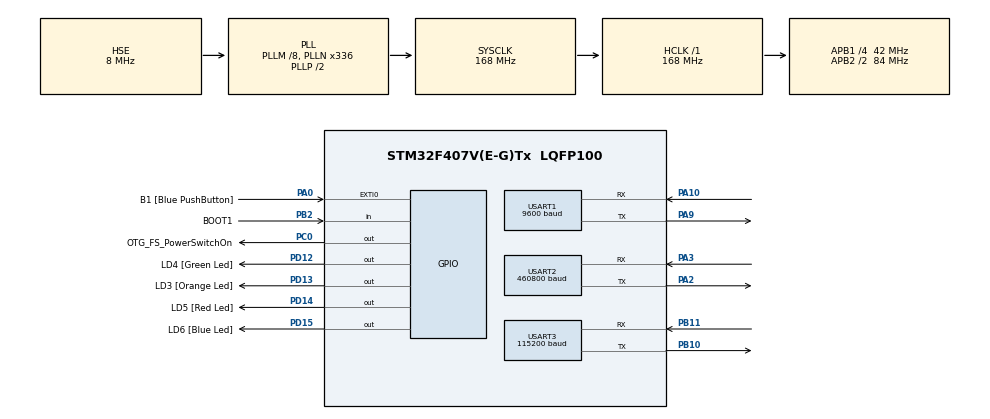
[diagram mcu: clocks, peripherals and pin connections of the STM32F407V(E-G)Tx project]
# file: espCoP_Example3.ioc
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Dma.Request0=USART3_RX
Dma.Request1=USART3_TX
Dma.Request2=USART2_TX
Dma.Request3=USART1_RX
Dma.Request4=USART1_TX
Dma.USART1_RX.3.Direction=DMA_PERIPH_TO_MEMORY
Dma.USART1_RX.3.FIFOMode=DMA_FIFOMODE_DISABLE
Dma.USART1_RX.3.Instance=DMA2_Stream2
Dma.USART1_RX.3.MemDataAlignment=DMA_MDATAALIGN_BYTE
Dma.USART1_RX.3.MemInc=DMA_MINC_ENABLE
Dma.USART1_RX.3.Mode=DMA_NORMAL
Dma.USART1_RX.3.PeriphDataAlignment=DMA_PDATAALIGN_BYTE
Dma.USART1_RX.3.PeriphInc=DMA_PINC_DISABLE
Dma.USART1_RX.3.Priority=DMA_PRIORITY_LOW
Dma.USART1_TX.4.Direction=DMA_MEMORY_TO_PERIPH
Dma.USART1_TX.4.FIFOMode=DMA_FIFOMODE_DISABLE
Dma.USART1_TX.4.Instance=DMA2_Stream7
Dma.USART1_TX.4.MemDataAlignment=DMA_MDATAALIGN_BYTE
Dma.USART1_TX.4.MemInc=DMA_MINC_ENABLE
Dma.USART1_TX.4.Mode=DMA_NORMAL
Dma.USART1_TX.4.PeriphDataAlignment=DMA_PDATAALIGN_BYTE
Dma.USART1_TX.4.PeriphInc=DMA_PINC_DISABLE
Dma.USART1_TX.4.Priority=DMA_PRIORITY_LOW
Dma.USART2_TX.2.Direction=DMA_MEMORY_TO_PERIPH
Dma.USART2_TX.2.FIFOMode=DMA_FIFOMODE_DISABLE
Dma.USART2_TX.2.Instance=DMA1_Stream6
Dma.USART2_TX.2.MemDataAlignment=DMA_MDATAALIGN_BYTE
Dma.USART2_TX.2.MemInc=DMA_MINC_ENABLE
Dma.USART2_TX.2.Mode=DMA_NORMAL
Dma.USART2_TX.2.PeriphDataAlignment=DMA_PDATAALIGN_BYTE
Dma.USART2_TX.2.PeriphInc=DMA_PINC_DISABLE
Dma.USART2_TX.2.Priority=DMA_PRIORITY_LOW
Dma.USART3_RX.0.Direction=DMA_PERIPH_TO_MEMORY
Dma.USART3_RX.0.FIFOMode=DMA_FIFOMODE_DISABLE
Dma.USART3_RX.0.Instance=DMA1_Stream1
Dma.USART3_RX.0.MemDataAlignment=DMA_MDATAALIGN_BYTE
Dma.USART3_RX.0.MemInc=DMA_MINC_ENABLE
Dma.USART3_RX.0.Mode=DMA_NORMAL
Dma.USART3_RX.0.PeriphDataAlignment=DMA_PDATAALIGN_BYTE
Dma.USART3_RX.0.PeriphInc=DMA_PINC_DISABLE
Dma.USART3_RX.0.Priority=DMA_PRIORITY_LOW
Dma.USART3_TX.1.Direction=DMA_MEMORY_TO_PERIPH
Dma.USART3_TX.1.FIFOMode=DMA_FIFOMODE_DISABLE
Dma.USART3_TX.1.Instance=DMA1_Stream3
Dma.USART3_TX.1.MemDataAlignment=DMA_MDATAALIGN_BYTE
Dma.USART3_TX.1.MemInc=DMA_MINC_ENABLE
Dma.USART3_TX.1.Mode=DMA_NORMAL
Dma.USART3_TX.1.PeriphDataAlignment=DMA_PDATAALIGN_BYTE
Dma.USART3_TX.1.PeriphInc=DMA_PINC_DISABLE
Dma.USART3_TX.1.Priority=DMA_PRIORITY_LOW
Mcu.Family=STM32F4
Mcu.Name=STM32F407V(E-G)Tx
Mcu.Package=LQFP100
NVIC.DMA1_Stream1_IRQn=true\:0\:0\:false\:false\:true\:false
NVIC.DMA1_Stream3_IRQn=true\:0\:0\:false\:false\:true\:false
NVIC.DMA1_Stream6_IRQn=true\:0\:0\:false\:false\:true\:false
NVIC.DMA2_Stream2_IRQn=true\:0\:0\:false\:false\:true\:false
NVIC.DMA2_Stream7_IRQn=true\:0\:0\:false\:false\:true\:false
NVIC.PriorityGroup=NVIC_PRIORITYGROUP_0
NVIC.USART1_IRQn=true\:0\:0\:false\:false\:true\:true
NVIC.USART2_IRQn=true\:0\:0\:false\:false\:true\:true
NVIC.USART3_IRQn=true\:0\:0\:false\:false\:true\:true
PA0-WKUP.GPIO_Label=B1 [Blue PushButton]
PA0-WKUP.GPIO_ModeDefaultEXTI=GPIO_MODE_EVT_RISING
PA0-WKUP.GPIO_PuPd=GPIO_NOPULL
PA0-WKUP.Signal=GPXTI0
PA10.Mode=Asynchronous
PA10.Signal=USART1_RX
PA13.GPIO_Label=SWDIO
PA13.Mode=Serial_Wire
PA13.Signal=SYS_JTMS-SWDIO
PA14.GPIO_Label=SWCLK
PA14.Mode=Serial_Wire
PA14.Signal=SYS_JTCK-SWCLK
PA2.Mode=Asynchronous
PA2.Signal=USART2_TX
PA3.Mode=Asynchronous
PA3.Signal=USART2_RX
PA9.Mode=Asynchronous
PA9.Signal=USART1_TX
PB10.Mode=Asynchronous
PB10.Signal=USART3_TX
PB11.Mode=Asynchronous
PB11.Signal=USART3_RX
PB2.GPIO_Label=BOOT1
PB2.GPIO_Mode=GPIO_MODE_INPUT
PB2.GPIO_PuPd=GPIO_NOPULL
PB2.Signal=GPIO_Input
PB3.GPIO_Label=SWO
PB3.Signal=SYS_JTDO-SWO
PC0.GPIO_Label=OTG_FS_PowerSwitchOn
PC0.GPIO_PuPd=GPIO_NOPULL
PC0.GPIO_Speed=GPIO_SPEED_FREQ_LOW
PC0.PinState=GPIO_PIN_SET
PC0.Signal=GPIO_Output
PC14-OSC32_IN.GPIO_Label=PC14-OSC32_IN
PC14-OSC32_IN.Mode=LSE-External-Oscillator
PC14-OSC32_IN.Signal=RCC_OSC32_IN
PC15-OSC32_OUT.GPIO_Label=PC15-OSC32_OUT
PC15-OSC32_OUT.Mode=LSE-External-Oscillator
PC15-OSC32_OUT.Signal=RCC_OSC32_OUT
PC3.GPIO_Label=PDM_OUT [MP45DT02_DOUT]
PC3.GPIO_Mode=GPIO_MODE_AF_PP
PC3.GPIO_PuPd=GPIO_NOPULL
PC3.GPIO_Speed=GPIO_SPEED_FREQ_LOW
PC3.Signal=I2S2_SD
PD12.GPIO_Label=LD4 [Green Led]
PD12.GPIO_PuPd=GPIO_NOPULL
PD12.GPIO_Speed=GPIO_SPEED_FREQ_LOW
PD12.Signal=GPIO_Output
PD13.GPIO_Label=LD3 [Orange Led]
PD13.GPIO_PuPd=GPIO_NOPULL
PD13.GPIO_Speed=GPIO_SPEED_FREQ_LOW
PD13.Signal=GPIO_Output
PD14.GPIO_Label=LD5 [Red Led]
PD14.GPIO_PuPd=GPIO_NOPULL
PD14.GPIO_Speed=GPIO_SPEED_FREQ_LOW
PD14.Signal=GPIO_Output
PD15.GPIO_Label=LD6 [Blue Led]
PD15.GPIO_PuPd=GPIO_NOPULL
PD15.GPIO_Speed=GPIO_SPEED_FREQ_LOW
PD15.Signal=GPIO_Output
PH0-OSC_IN.GPIO_Label=PH0-OSC_IN
PH0-OSC_IN.Mode=HSE-External-Oscillator
PH0-OSC_IN.Signal=RCC_OSC_IN
PH1-OSC_OUT.GPIO_Label=PH1-OSC_OUT
PH1-OSC_OUT.Mode=HSE-External-Oscillator
PH1-OSC_OUT.Signal=RCC_OSC_OUT
ProjectManager.HeapSize=0x200
ProjectManager.StackSize=0x400
ProjectManager.TargetToolchain=TrueSTUDIO
RCC.48MHZClocksFreq_Value=48000000
RCC.AHBFreq_Value=168000000
RCC.APB1CLKDivider=RCC_HCLK_DIV4
RCC.APB1Freq_Value=42000000
RCC.APB1TimFreq_Value=84000000
RCC.APB2CLKDivider=RCC_HCLK_DIV2
RCC.APB2Freq_Value=84000000
RCC.APB2TimFreq_Value=168000000
RCC.CortexFreq_Value=168000000
RCC.HCLKFreq_Value=168000000
RCC.HSE_VALUE=8000000
RCC.HSI_VALUE=16000000
RCC.PLLM=8
RCC.PLLN=336
RCC.PLLQ=7
RCC.PLLSourceVirtual=RCC_PLLSOURCE_HSE
RCC.SYSCLKFreq_VALUE=168000000
RCC.SYSCLKSource=RCC_SYSCLKSOURCE_PLLCLK
RCC.VCOOutputFreq_Value=336000000
USART1.BaudRate=9600
USART1.VirtualMode=VM_ASYNC
USART2.BaudRate=460800
USART2.Mode=MODE_TX
USART2.VirtualMode=VM_ASYNC
USART3.BaudRate=115200
USART3.VirtualMode=VM_ASYNC
board=STM32F4DISCOVERY

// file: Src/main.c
/* USER CODE BEGIN Header */
/**
  ******************************************************************************
  * @file           : main.c
  * @brief          : Main program body
  ******************************************************************************
  ** This notice applies to any and all portions of this file
  * that are not between comment pairs USER CODE BEGIN and
  * USER CODE END. Other portions of this file, whether
  * inserted by the user or by software development tools
  * are owned by their respective copyright owners.
  *
  * COPYRIGHT(c) 2019 STMicroelectronics
  *
  * Redistribution and use in source and binary forms, with or without modification,
  * are permitted provided that the following conditions are met:
  *   1. Redistributions of source code must retain the above copyright notice,
  *      this list of conditions and the following disclaimer.
  *   2. Redistributions in binary form must reproduce the above copyright notice,
  *      this list of conditions and the following disclaimer in the documentation
  *      and/or other materials provided with the distribution.
  *   3. Neither the name of STMicroelectronics nor the names of its contributors
  *      may be used to endorse or promote products derived from this software
  *      without specific prior written permission.
  *
  * THIS SOFTWARE IS PROVIDED BY THE COPYRIGHT HOLDERS AND CONTRIBUTORS "AS IS"
  * AND ANY EXPRESS OR IMPLIED WARRANTIES, INCLUDING, BUT NOT LIMITED TO, THE
  * IMPLIED WARRANTIES OF MERCHANTABILITY AND FITNESS FOR A PARTICULAR PURPOSE ARE
  * DISCLAIMED. IN NO EVENT SHALL THE COPYRIGHT HOLDER OR CONTRIBUTORS BE LIABLE
  * FOR ANY DIRECT, INDIRECT, INCIDENTAL, SPECIAL, EXEMPLARY, OR CONSEQUENTIAL
  * DAMAGES (INCLUDING, BUT NOT LIMITED TO, PROCUREMENT OF SUBSTITUTE GOODS OR
  * SERVICES; LOSS OF USE, DATA, OR PROFITS; OR BUSINESS INTERRUPTION) HOWEVER
  * CAUSED AND ON ANY THEORY OF LIABILITY, WHETHER IN CONTRACT, STRICT LIABILITY,
  * OR TORT (INCLUDING NEGLIGENCE OR OTHERWISE) ARISING IN ANY WAY OUT OF THE USE
  * OF THIS SOFTWARE, EVEN IF ADVISED OF THE POSSIBILITY OF SUCH DAMAGE.
  *
  ******************************************************************************
  */
/* USER CODE END Header */

#include "main.h"
#include "dma.h"
#include "usart.h"
#include "gpio.h"

/* USER CODE BEGIN Includes */
#include <stack/esp_basic.h>
#include <stack/esp_wifi.h>
#include <stack/esp_tcpip.h>
#include "debug.h"
#include "slre.h"
#include "esp_drv.h"
#include "esp_port.h"
#include "assert.h"

#include <string.h>
/* USER CODE END Includes */

/* USER CODE BEGIN PD */
//#define SSID	"HUAWEI-DUge\0"
//#define PASS	"485754439FED179D\0"
#define SSID	"AlVik\0"
#define PASS	"xPo#h0c2016\0"
/* USER CODE END PD */

/* USER CODE BEGIN PV */
static char message[] = "Hello\r\n";
/* USER CODE END PV */

void SystemClock_Config(void);

/* USER CODE BEGIN 0 */
static bool receice_handlle(ESP_ConnectionId_t id, const char data[], size_t size)
{
	if(data == NULL || size == 0)
	{
		debug_error("[TCP]: Received from id: %c...FAULT\r\n", id);
		return false;
	}

	debug_info("[TCP]: Received from id: %c\r\n", id);
	debug_info("\r\n");
	debug_dump((const void*)data, (unsigned long)&data[0], size, 1);
	debug_info("\r\n");
	debug_info("\r\n");

	ESP_TransmitData(id, message, sizeof(message));
	return true;
}

static bool disconnect_handlle(ESP_ConnectionId_t id)
{
	debug_info("[TCP]: Connection %c close\r\n", id);
	return true;
}

static bool connect_handlle(ESP_ConnectionId_t id)
{
	ESP_ConnectonStatus_t status;

	debug_info("[TCP]: Connection %c open\r\n", id);
	if(ESP_RequestConnectionStatus(&status, 5000u))
	{
		debug_info("\tID: %c\r\n", status.id);
		debug_info("\tlocalPort: %d\r\n", status.localPort);
		debug_info("\tremoteIp: %x\r\n", status.remoteIp);
		debug_info("\tremotePort: %d\r\n", status.remotePort);
		debug_info("\tstat: %c\r\n", status.stat);
		debug_info("\ttype: %x\r\n", status.type);
	}
	ESP_HardWareSwitchMode(UNBLOCK);
	return true;
}

static void transmit_pass_handle(void)
{
	debug_info("[TCP]: Transmit Pass\r\n");
}

/* USER CODE END 0 */

int main(void)
{
  /* USER CODE BEGIN 1 */
	const char ssid[] = SSID;
		const char password[] = PASS;
		char ssid_cur[35] = {0};
		Ipv4Addr_t ip = 0;
		Ipv4Addr_t gw = 0;
		Ipv4Addr_t mask = 0;
		TCP_ConnectonParam_t connParam;
		char ipStr[] = "192.168.100.7\0";

		char _ip[] = "000.000.000.000\0";
		char _gw[] = "000.000.000.000\0";
		char _msk[] = "000.000.000.000\0";

		ESP_TransferMode_t transfer;
		ESP_ConnectionMode_t mux;
		uint32_t count = 3;
		ESPStatus_t res = ESP_INNER_ERR;

  /* USER CODE END 1 */

  /* MCU Configuration--------------------------------------------------------*/

  /* Reset of all peripherals, Initializes the Flash interface and the Systick. */
  HAL_Init();

  /* Configure the system clock */
  SystemClock_Config();

  /* Initialize all configured peripherals */
  MX_GPIO_Init();
  MX_DMA_Init();
  MX_USART3_UART_Init();
  MX_USART2_UART_Init();
  MX_USART1_UART_Init();
  /* USER CODE BEGIN 2 */
  debug_init();

	ESP_RegisterReceiceCB(&receice_handlle);
	ESP_RegisterCloseConnectCB(&disconnect_handlle);
	ESP_RegisterOpenConnectCB(&connect_handlle);
	ESP_RegisterTransmitPassCB(&transmit_pass_handle);
  ESP_Init();

  Convert_StringToIpv4addr(&connParam.remoteIp, ipStr);
  	connParam.remotePort = 9000;
  	connParam.id = ID_NONE;

  	debug_info("Example #3\r\n");
  	debug_info("\t- WiFi in station mode\r\n");
  	debug_info("\t- TCP server\r\n");
  	debug_info("\t- Multi connection mode\r\n");
  	debug_info("\t- Normal transmit mode\r\n");
  	debug_info("\r\n");
  	debug_info("\r\n");

  	debug_info("Setup WiFi station mode...");
  	if(ESP_SetupWifiModeCur(WIFI_CLIENT, 5000u))
  	{
  		debug_info(" PASS\r\n");

  		debug_info("Check connection to AP status: \r\n");
  		if(ESP_RequestNameConnectedApCur(ssid_cur, 5000u) == ESP_PASS)
  		{
  			if(strlen(ssid_cur) != 0)
  			{
  				debug_info("\tjoin to %s\r\n", ssid_cur);
  				if(ESP_UnJoinFromWifiAp(5000u))
  				{
  					debug_info("\tunjoin from %s\r\n", ssid_cur);
  				}
  			}
  			else
  			{
  				debug_info("\tdo not join\r\n");
  			}
  		}

  		debug_info("Join to SSID: %s...", ssid);
  		while(res != ESP_PASS && count > 0)
  		{
  			res = ESP_JoinToWifiApCur(ssid, password, 5000u);
  			count--;
  		}
  		if(res == ESP_PASS)
  		{
  			debug_info(" PASS\r\n");
  			debug_info("Request station IP...");

  			res = ESP_INNER_ERR;
  			count = 1;
  			while(res != ESP_PASS && count != 0)
  			{
  				res = ESP_RequestWifiStationIpAddrCur(&ip, &gw, &mask, 5000u);
  				count++;
  			}
  			if(res == ESP_PASS)
  			{
  				debug_info(" PASS\r\n");

  				Convert_Ipv4addrToString(ip, _ip);
  				Convert_Ipv4addrToString(gw, _gw);
  				Convert_Ipv4addrToString(mask, _msk);

  				debug_info("\tIP: %s\r\n", _ip);
  				debug_info("\tGW: %s\r\n", _gw);
  				debug_info("\tMASK: %s\r\n", _msk);
  			}
  			else
  			{
  				debug_error(" FAULT\r\n");
  			}

  			debug_info("Request multiplexor mode...");
  			res = ESP_INNER_ERR;
  			count = 0;

  			while(res != ESP_PASS)
  			{
  				res = ESP_RequestConfigMux(&mux, 5000u);
  				count++;
  			}
  			if(res == ESP_PASS)
  			{
  				debug_info(" PASS\r\n");
  				if(mux != MULTIPLE_CONNECT)
  				{
  					debug_info("Setup multi mode...");
  					if(ESP_MultipleConnectionEnable(5000u) == ESP_SERVER_ON)
  					{
  						debug_info(" FAULT\r\n");
  						debug_info("\t Need disable TCP Server...");
  						if(ESP_CloseServerTCP(0, 5000u))
  						{
  							debug_info(" PASS\r\n");
  							debug_info("Setup single mode...");
  							if(ESP_MultipleConnectionEnable(5000u))
  							{
  								debug_info(" PASS\r\n");
  							}
  							else
  							{
  								debug_error(" FAULT\r\n");
  							}
  						}
  						else
  						{
  							debug_error(" FAULT\r\n");
  						}
  					}
  					else
  					{
  						debug_info(" PASS\r\n");
  					}
  				}
  				else
  				{
  					debug_info("\tAlready in multi mode...\r\n");
  				}

  				debug_info("Request transfer mode...");

  				res = ESP_INNER_ERR;
  				count = 0;
  				while(res != ESP_PASS)
  				{
  					res = ESP_RequestTransferMode(&transfer, 5000u);
  					count++;
  				}
  				if(res == ESP_PASS)
  				{
  					debug_info(" PASS\r\n");
  					if(transfer != NORMAL_MODE)
  					{
  						debug_info("Setup normal transfer mode...");
  						if(ESP_SetupTransferMode(NORMAL_MODE, 5000u) == ESP_PASS)
  						{
  							debug_info(" PASS\r\n");
  						}
  						else
  						{
  							debug_error(" FAULT\r\n");
  						}
  					}
  					else
  					{
  						debug_info("\tAlready in normal transfer mode...\r\n");
  					}
  				}
  				else if(res == ESP_PASS)
  				{
  					debug_error(" TIMEOUT\r\n");
  				}
  				else
  				{
  					debug_error(" FAULT\r\n");
  				}

  //				if(ESP_RequestTransferMode(&transfer))
  //				{
  //					debug_info(" PASS\r\n");
  //
  //					if(transfer != NORMAL_MODE)
  //					{
  //						debug_info("Setup normal transfer mode...");
  //						if(ESP_SetupTransferMode(NORMAL_MODE))
  //						{
  //							debug_info(" PASS\r\n");
  //						}
  //						else
  //						{
  //							debug_error(" FAULT\r\n");
  //						}
  //					}
  //					else
  //					{
  //						debug_info("\tAlready in normal transfer mode...\r\n");
  //					}
  //				}
  //				else
  //				{
  //					debug_error(" FAULT\r\n");
  //				}

  				debug_info("Create TCP server...");
  				if(ESP_StartServerTCP(1001, 5000u) == ESP_PASS)
  				{
  					debug_info(" PASS\r\n");
  				}
  				else
  				{
  					debug_error(" FAULT\r\n");
  				}

  				ESP_HardWareSwitchMode(UNBLOCK);
  			}
  			else
  			{
  				debug_error(" FAULT\r\n");
  			}
  		}
  		else
  		{
  			debug_error(" FAULT\r\n");
  		}
  	}
  	else
  	{
  		debug_error(" FAULT\r\n");
  	}

  /* USER CODE END 2 */

  /* Infinite loop */
  while (1)
  {

    /* USER CODE BEGIN 3 */
	ESP_MsgHandlCallBack();
	ESP_TransmitDataHandle();
  }
  /* USER CODE END 3 */
}

void SystemClock_Config(void)
{
  RCC_OscInitTypeDef RCC_OscInitStruct = {0};
  RCC_ClkInitTypeDef RCC_ClkInitStruct = {0};

  /**Configure the main internal regulator output voltage
  */
  __HAL_RCC_PWR_CLK_ENABLE();
  __HAL_PWR_VOLTAGESCALING_CONFIG(PWR_REGULATOR_VOLTAGE_SCALE1);
  /**Initializes the CPU, AHB and APB busses clocks
  */
  RCC_OscInitStruct.OscillatorType = RCC_OSCILLATORTYPE_HSE;
  RCC_OscInitStruct.HSEState = RCC_HSE_ON;
  RCC_OscInitStruct.PLL.PLLState = RCC_PLL_ON;
  RCC_OscInitStruct.PLL.PLLSource = RCC_PLLSOURCE_HSE;
  RCC_OscInitStruct.PLL.PLLM = 8;
  RCC_OscInitStruct.PLL.PLLN = 336;
  RCC_OscInitStruct.PLL.PLLP = RCC_PLLP_DIV2;
  RCC_OscInitStruct.PLL.PLLQ = 7;
  if (HAL_RCC_OscConfig(&RCC_OscInitStruct) != HAL_OK)
  {
    Error_Handler();
  }
  /**Initializes the CPU, AHB and APB busses clocks
  */
  RCC_ClkInitStruct.ClockType = RCC_CLOCKTYPE_HCLK|RCC_CLOCKTYPE_SYSCLK
                              |RCC_CLOCKTYPE_PCLK1|RCC_CLOCKTYPE_PCLK2;
  RCC_ClkInitStruct.SYSCLKSource = RCC_SYSCLKSOURCE_PLLCLK;
  RCC_ClkInitStruct.AHBCLKDivider = RCC_SYSCLK_DIV1;
  RCC_ClkInitStruct.APB1CLKDivider = RCC_HCLK_DIV4;
  RCC_ClkInitStruct.APB2CLKDivider = RCC_HCLK_DIV2;

  if (HAL_RCC_ClockConfig(&RCC_ClkInitStruct, FLASH_LATENCY_5) != HAL_OK)
  {
    Error_Handler();
  }
}

void Error_Handler(void)
{
}

/************************ (C) COPYRIGHT STMicroelectronics *****END OF FILE****/
